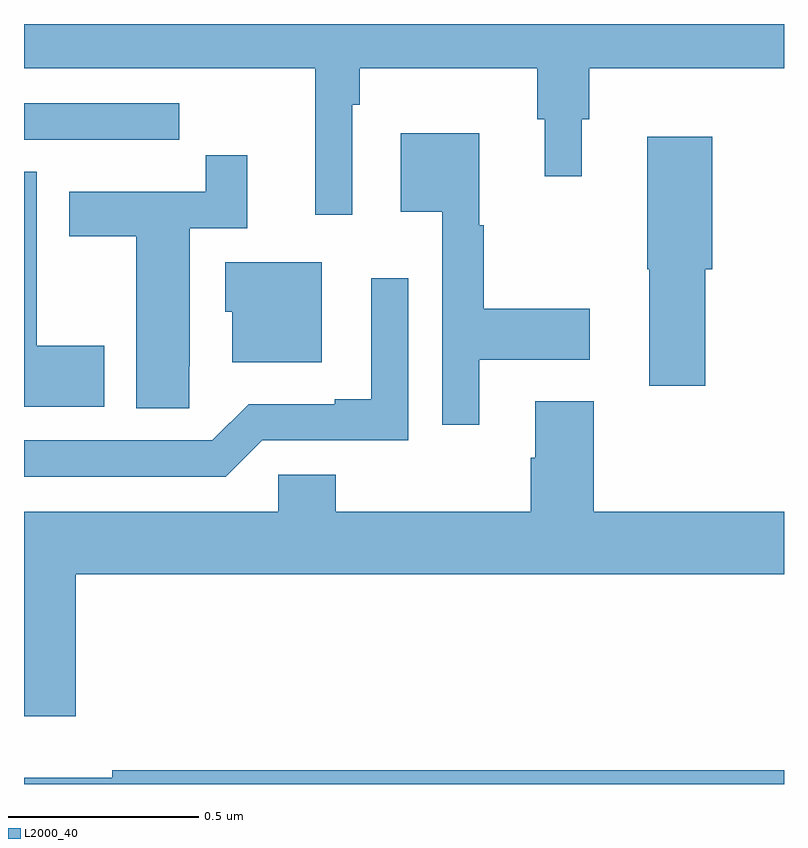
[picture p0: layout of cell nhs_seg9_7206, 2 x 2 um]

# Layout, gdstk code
import gdstk
lib = gdstk.Library(unit=1e-6, precision=1e-09)
def P(c, l, *ps):  # polygons
    for p in ps: c.add(gdstk.Polygon(p, *l))
L2000_40 = (2000, 40)

nhs_seg9_7206 = lib.new_cell('nhs_seg9_7206')
P(nhs_seg9_7206, L2000_40, [(201.864,1232.288),(201.884,1232.288),(201.884,1232.384),(202.351,1232.384),(202.351,1232.25),(202.37,1232.25),(202.37,1232.1),(202.468,1232.1),(202.468,1232.25),(202.487,1232.25),(202.487,1232.384),(203,1232.384),(203,1232.5),(201,1232.5),(201,1232.384),(201.767,1232.384),(201.767,1231.998),(201.864,1231.998)],
  [(201.296,1232.196),(201.409,1232.196),(201.409,1232.292),(201,1232.292),(201,1232.196),(201.13,1232.196),(201.13,1232.195),(201.296,1232.195)],
  [(202.198,1231.616),(202.489,1231.616),(202.489,1231.751),(202.21,1231.751),(202.21,1231.971),(202.198,1231.971),(202.198,1232.212),(201.992,1232.212),(201.992,1232.006),(202.101,1232.006),(202.101,1231.446),(202.198,1231.446)],
  [(202.793,1231.854),(202.811,1231.854),(202.811,1232.203),(202.64,1232.203),(202.64,1231.854),(202.646,1231.854),(202.646,1231.548),(202.793,1231.548)],
  [(201.435,1231.6),(201.436,1231.6),(201.436,1231.962),(201.587,1231.962),(201.587,1232.155),(201.478,1232.155),(201.478,1232.058),(201.119,1232.058),(201.119,1231.942),(201.296,1231.942),(201.296,1231.489),(201.435,1231.489)],
  [(201.211,1231.653),(201.034,1231.653),(201.034,1232.111),(201,1232.111),(201,1231.493),(201.211,1231.493)],
  [(201.784,1231.873),(201.53,1231.873),(201.53,1231.743),(201.548,1231.743),(201.548,1231.61),(201.784,1231.61)],
  [(201.627,1231.404),(202.011,1231.404),(202.011,1231.831),(201.914,1231.831),(201.914,1231.513),(201.818,1231.513),(201.818,1231.5),(201.591,1231.5),(201.495,1231.404),(201,1231.404),(201,1231.308),(201.531,1231.308)],
  [(201.136,1231.052),(203,1231.052),(203,1231.216),(202.499,1231.216),(202.499,1231.507),(202.346,1231.507),(202.346,1231.358),(202.334,1231.358),(202.334,1231.216),(201.821,1231.216),(201.821,1231.314),(201.669,1231.314),(201.669,1231.216),(201,1231.216),(201,1230.678),(201.136,1230.678)],
  [(203,1230.536),(201.232,1230.536),(201.232,1230.517),(201,1230.517),(201,1230.5),(203,1230.5)])

lib.write_gds('nhs_seg9_7206.gds')
